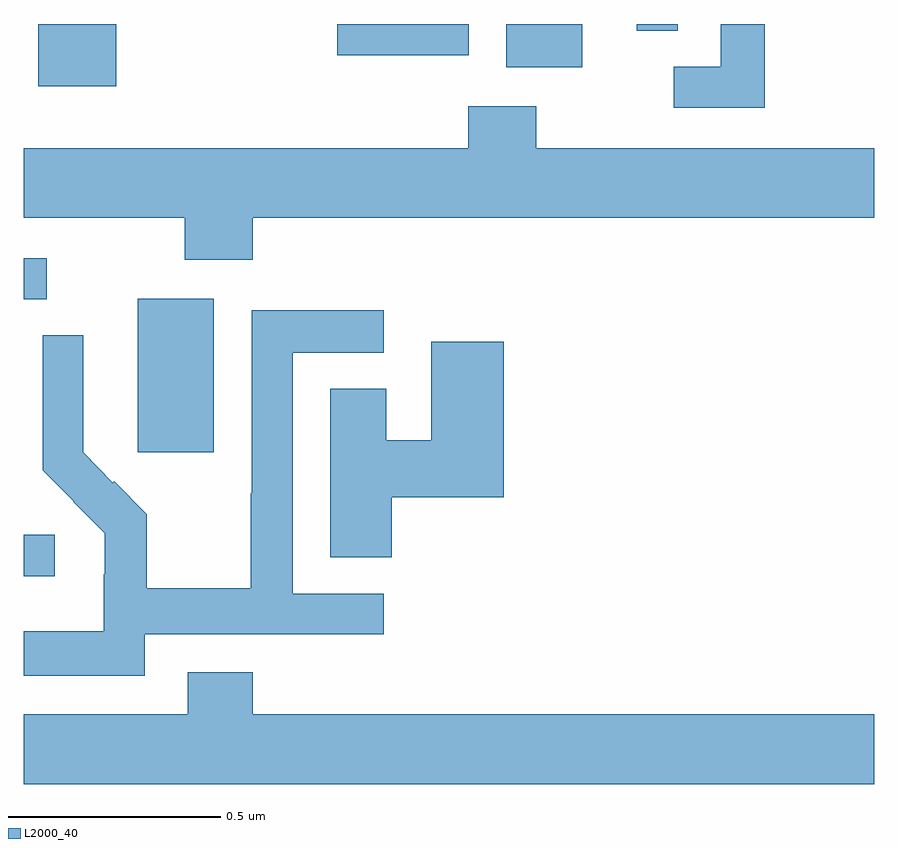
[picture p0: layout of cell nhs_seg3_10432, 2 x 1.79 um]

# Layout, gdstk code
import gdstk
lib = gdstk.Library(unit=1e-6, precision=1e-09)
def R(c, l, rs):  # rectangles x0, y0, x1, y1
    for r in rs: c.add(gdstk.rectangle(r[:2], r[2:], *l))
def P(c, l, *ps):  # polygons
    for p in ps: c.add(gdstk.Polygon(p, *l))
L2000_40 = (2000, 40)

nhs_seg3_10432 = lib.new_cell('nhs_seg3_10432')
R(nhs_seg3_10432, L2000_40, [(241,672.101,241.072,672.198), (241.268,672.393,241.447,672.754), (241,672.753,241.054,672.849), (241.034,673.254,241.217,673.4), (242.135,673.298,242.314,673.4), (241.737,673.327,242.046,673.4), (242.442,673.384,242.538,673.4)])
P(nhs_seg3_10432, L2000_40, [(242.743,673.4),(242.639,673.4),(242.639,673.299),(242.529,673.299),(242.529,673.203),(242.743,673.203)],
  [(241.538,672.944),(243,672.944),(243,673.108),(242.205,673.108),(242.205,673.207),(242.045,673.207),(242.045,673.108),(241,673.108),(241,672.944),(241.378,672.944),(241.378,672.845),(241.538,672.845)],
  [(241.284,671.964),(241.846,671.964),(241.846,672.06),(241.632,672.06),(241.632,672.627),(241.846,672.627),(241.846,672.726),(241.536,672.726),(241.536,672.296),(241.534,672.296),(241.534,672.073),(241.289,672.073),(241.289,672.247),(241.212,672.324),(241.209,672.321),(241.139,672.392),(241.139,672.514),(241.14,672.514),(241.14,672.668),(241.044,672.668),(241.044,672.35),(241.117,672.277),(241.116,672.276),(241.19,672.202),(241.19,672.105),(241.188,672.105),(241.188,671.971),(241,671.971),(241,671.867),(241.284,671.867)],
  [(241.865,672.287),(242.129,672.287),(242.129,672.652),(241.958,672.652),(241.958,672.421),(241.852,672.421),(241.852,672.542),(241.721,672.542),(241.721,672.145),(241.865,672.145)],
  [(243,671.776),(241.538,671.776),(241.538,671.875),(241.385,671.875),(241.385,671.776),(241,671.776),(241,671.612),(243,671.612)])

lib.write_gds('nhs_seg3_10432.gds')
